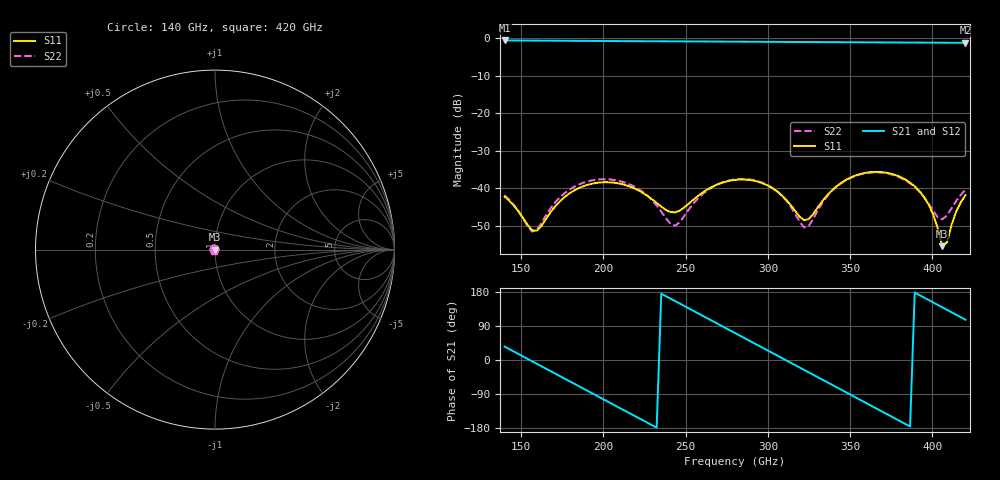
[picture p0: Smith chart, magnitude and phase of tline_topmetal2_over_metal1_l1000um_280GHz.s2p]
#  GHZ S DB R 50
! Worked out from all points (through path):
!   101 points, 140 GHz to 420 GHz, reference 50 ohm
!   highest |S21| = -0.61 dB at 140 GHz (marker M1); lowest = -1.2 dB at 420 GHz (marker M2)
!   group delay of S21, straight-line fit = 6.44 ps
!   lowest |S11| = -55.4 dB at 406 GHz (marker M3), VSWR 1.00, Z = 50.2 - j0.0118 ohm
!   |S11| at or under -10 dB: start of sweep to end of sweep
!   |S22| runs from -51.5 to -35.7 dB; largest |S21 - S12| = 1e-13
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140  -42.17 156.5  -0.61 35.3  -0.61 35.3  -41.83 161.2
156.8  -51.17 52.5  -0.65 -3.6  -0.65 -3.6  -51.49 51.3
170.8  -44.75 -64.7  -0.68 -36.0  -0.68 -36.0  -43.67 -62.2
187.6  -39.46 -127.5  -0.72 -74.9  -0.72 -74.9  -38.52 -120.9
207.2  -38.51 169.5  -0.77 -120.2  -0.77 -120.2  -37.78 180.0
221.2  -40.50 121.5  -0.80 -152.6  -0.80 -152.6  -40.12 136.2
235.2  -44.85 56.0  -0.83 175.0  -0.83 175.0  -46.17 76.9
243.6  -46.38 -6.0  -0.85 155.5  -0.85 155.5  -49.93 0.9
260.4  -41.07 -104.5  -0.89 116.6  -0.89 116.6  -41.47 -108.1
280  -37.73 -172.0  -0.93 71.2  -0.93 71.2  -37.60 -170.5
294  -38.23 144.4  -0.97 38.8  -0.97 38.8  -38.09 148.1
305.2  -40.67 106.6  -0.99 12.8  -0.99 12.8  -40.65 112.4
322  -48.47 1.5  -1.03 -26.1  -1.03 -26.1  -50.40 6.1
327.6  -46.77 -55.5  -1.04 -39.1  -1.04 -39.1  -48.02 -60.3
338.8  -40.54 -116.3  -1.06 -65.1  -1.06 -65.1  -40.75 -119.5
350  -37.15 -153.7  -1.09 -91.1  -1.09 -91.1  -37.24 -155.7
361.2  -35.73 174.0  -1.11 -117.1  -1.11 -117.1  -35.83 172.0
375.2  -36.13 135.7  -1.14 -149.5  -1.14 -149.5  -36.30 132.3
394.8  -42.25 79.0  -1.19 165.0  -1.19 165.0  -42.31 65.1
400.4  -46.92 56.2  -1.20 152.0  -1.20 152.0  -45.93 31.1
406  -55.38 -4.0  -1.21 138.9  -1.21 138.9  -48.25 -27.7
420  -41.81 -142.0  -1.24 106.4  -1.24 106.4  -40.32 -125.7
